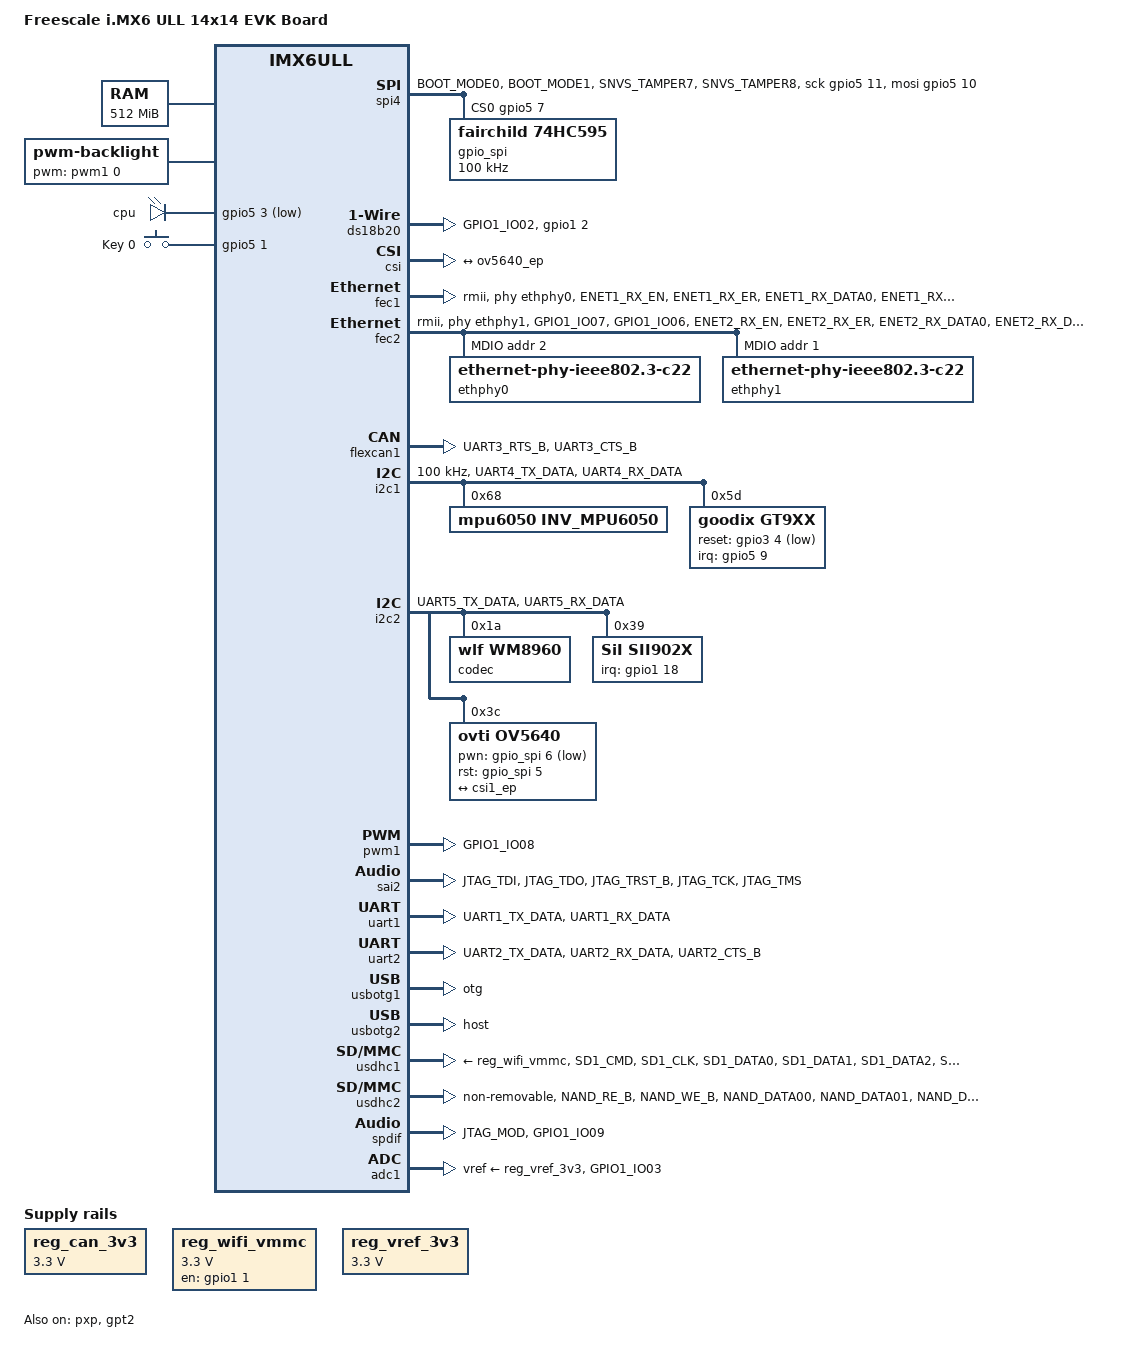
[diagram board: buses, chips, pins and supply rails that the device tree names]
/*
 * Copyright (C) 2016 Freescale Semiconductor, Inc.
 *
 * This program is free software; you can redistribute it and/or modify
 * it under the terms of the GNU General Public License version 2 as
 * published by the Free Software Foundation.
 */

/dts-v1/;

#include <dt-bindings/input/input.h>
#include "imx6ull.dtsi"

/ {
	model = "Freescale i.MX6 ULL 14x14 EVK Board";
	compatible = "fsl,imx6ull-14x14-evk", "fsl,imx6ull";

	chosen {
		stdout-path = &uart1;
	};

	memory {
		reg = <0x80000000 0x20000000>;
	};

	reserved-memory {
		#address-cells = <1>;
		#size-cells = <1>;
		ranges;

		linux,cma {
			compatible = "shared-dma-pool";
			reusable;
			size = <0x14000000>;
			linux,cma-default;
		};
	};

	backlight {
		compatible = "pwm-backlight";
		pwms = <&pwm1 0 5000000>;
		brightness-levels = <0 4 8 16 32 64 128 255>;
		default-brightness-level = <6>;
		status = "okay";
	};

	pxp_v4l2 {
		compatible = "fsl,imx6ul-pxp-v4l2", "fsl,imx6sx-pxp-v4l2", "fsl,imx6sl-pxp-v4l2";
		status = "okay";
	};

	regulators {
		compatible = "simple-bus";
		#address-cells = <1>;
		#size-cells = <0>;

		reg_can_3v3: regulator@0 {
			compatible = "regulator-fixed";
			reg = <0>;
			regulator-name = "can-3v3";
			regulator-min-microvolt = <3300000>;
			regulator-max-microvolt = <3300000>;
			/*gpios = <&gpio_spi 3 GPIO_ACTIVE_LOW>;*/
		};

		reg_wifi_vmmc: regulator@1 {
			compatible = "regulator-fixed";
			regulator-name = "WIFI_3V3";
			regulator-min-microvolt = <3300000>;
			regulator-max-microvolt = <3300000>;
			gpio = <&gpio1 1 GPIO_ACTIVE_HIGH>;
			enable-active-high;
		};
		reg_vref_3v3: regulator@2 {
			compatible = "regulator-fixed";
			regulator-name = "vref-3v3";
			regulator-min-microvolt = <3300000>;
			regulator-max-microvolt = <3300000>;
		};
/*
		reg_gpio_dvfs: regulator-gpio {
			compatible = "regulator-gpio";
			pinctrl-names = "default";
			pinctrl-0 = <&pinctrl_dvfs>;
			regulator-min-microvolt = <1300000>;
			regulator-max-microvolt = <1400000>;
			regulator-name = "gpio_dvfs";
			regulator-type = "voltage";
			gpios = <&gpio5 3 GPIO_ACTIVE_HIGH>;
			states = <1300000 0x1 1400000 0x0>;
		};

		reg_bt: regulator-bt-reg {
			compatible = "regulator-gpio";
			pinctrl-names = "default";
			pinctrl-0 = <&pinctrl_dvfs>;
			regulator-min-microvolt = <1300000>;
			regulator-max-microvolt = <1400000>;
			regulator-name = "gpio_dvfs";
			regulator-type = "voltage";
			gpios = <&gpio5 3 GPIO_ACTIVE_HIGH>;
			states = <1300000 0x1 1400000 0x0>;
		};*/
	};

	leds {
		compatible = "gpio-leds";
		pinctrl-names = "default";
		pinctrl-0 = <&pinctrl_led>;

		led0: cpu {
			label = "cpu";
			gpios = <&gpio5 3 GPIO_ACTIVE_LOW>;
			default-state = "on";
			linux,default-trigger = "heartbeat";
		};
	};

	pwm_leds{
		compatible = "pwm-leds";
		status = "disable";
		red {
			label = "red";
			pwms = <&pwm3 0 500000>;
			max-brightness = <255>;
		};

		blue {
			label = "blue";
			pwms = <&pwm7 0 500000>;
			max-brightness = <255>;
		};

		green {
			label = "green";
			pwms = <&pwm8 0 500000>;
			max-brightness = <255>;
		};

	};

	gpio-keys {
			compatible = "gpio-keys";
			pinctrl-names = "default";
			pinctrl-0 = <&pinctrl_gpio_keys>;

			Key0{
				label = "Key 0";
				gpios = <&gpio5 1 GPIO_ACTIVE_HIGH>;
				linux,code = <KEY_0>;
		};
	};

	ir-receiver {
			compatible = "gpio-ir-receiver";
			/*gpios = <&gpio1 1 GPIO_ACTIVE_LOW>;*/
			pinctrl-names = "default";
			pinctrl-0 = <&pinctrl_remote_control>;
			status = "disable";
	};

	sound {
		compatible = "fsl,imx6ul-evk-wm8960",
			   "fsl,imx-audio-wm8960";
		model = "wm8960-audio";
		cpu-dai = <&sai2>;
		audio-codec = <&codec>;
		asrc-controller = <&asrc>;
		codec-master;
		gpr = <&gpr 4 0x100000 0x100000>;
		/*
		 * hp-det = <hp-det-pin hp-det-polarity>;
		 * hp-det-pin: JD1 JD2  or JD3
		 * hp-det-polarity = 0: hp detect high for headphone
		 * hp-det-polarity = 1: hp detect high for speaker
		 */
		hp-det = <3 1>;
		/*hp-det-gpios = <&gpio5 4 0>;
		mic-det-gpios = <&gpio5 4 0>;*/
		audio-routing =
			"Headphone Jack", "HP_L",
			"Headphone Jack", "HP_R",
			"Ext Spk", "SPK_LP",
			"Ext Spk", "SPK_LN",
			"Ext Spk", "SPK_RP",
			"Ext Spk", "SPK_RN",
			"LINPUT2", "Mic Jack",
			"LINPUT3", "Mic Jack",
			"RINPUT1", "Main MIC",
			"RINPUT2", "Main MIC",
			"Mic Jack", "MICB",
			"Main MIC", "MICB",
			"CPU-Playback", "ASRC-Playback",
			"Playback", "CPU-Playback",
			"ASRC-Capture", "CPU-Capture",
			"CPU-Capture", "Capture";
			status = "okay";
	};

	spi4 {
		compatible = "spi-gpio";
		pinctrl-names = "default";
		pinctrl-0 = <&pinctrl_spi4>;
		pinctrl-assert-gpios = <&gpio5 8 GPIO_ACTIVE_LOW>;
		status = "okay";
		gpio-sck = <&gpio5 11 0>;
		gpio-mosi = <&gpio5 10 0>;
		cs-gpios = <&gpio5 7 0>;
		num-chipselects = <1>;
		#address-cells = <1>;
		#size-cells = <0>;

		gpio_spi: gpio_spi@0 {
			compatible = "fairchild,74hc595";
			gpio-controller;
			#gpio-cells = <2>;
			reg = <0>;
			registers-number = <1>;
			registers-default = /bits/ 8 <0x57>;
			spi-max-frequency = <100000>;
		};
	};

	sound-spdif {
		compatible = "fsl,imx-audio-spdif";
		model = "imx-spdif";
		spdif-controller = <&spdif>;
		spdif-in;
		spdif-out;
	};

	sii902x_reset: sii902x-reset {
		compatible = "gpio-reset";
		reset-gpios = <&gpio_spi 0 GPIO_ACTIVE_LOW>;
		reset-delay-us = <100000>;
		#reset-cells = <0>;
		status = "disabled";
	};

	ds18b20{
		compatible = "w1-gpio";
		gpios = <&gpio1 2 GPIO_ACTIVE_HIGH>;
		linux,open-drain;
		pinctrl-names = "default";
		pinctrl-0 = <&pinctrl_onewire>;
		status = "okay";
	};

};

&cpu0 {
	arm-supply = <&reg_arm>;
	soc-supply = <&reg_soc>;
	clock-frequency = <800000000>;
	/*dc-supply = <&reg_gpio_dvfs>;*/
};

&clks {
	assigned-clocks = <&clks IMX6UL_CLK_PLL4_AUDIO_DIV>;
	assigned-clock-rates = <786432000>;
};

&csi {
	status = "okay";

	port {
		csi1_ep: endpoint {
			remote-endpoint = <&ov5640_ep>;
		};
	};
};

&fec1 {
	pinctrl-names = "default";
	pinctrl-0 = <&pinctrl_enet1>;
	phy-mode = "rmii";
	phy-handle = <&ethphy0>;
	status = "okay";
};

&fec2 {
	pinctrl-names = "default";
	pinctrl-0 = <&pinctrl_enet2>;
	phy-mode = "rmii";
	phy-handle = <&ethphy1>;
	status = "okay";

	mdio {
		#address-cells = <1>;
		#size-cells = <0>;

		ethphy0: ethernet-phy@2 {
			compatible = "ethernet-phy-ieee802.3-c22";
			reg = <2>;
		};

		ethphy1: ethernet-phy@1 {
			compatible = "ethernet-phy-ieee802.3-c22";
			reg = <1>;
		};
	};
};

&flexcan1 {
	pinctrl-names = "default";
	pinctrl-0 = <&pinctrl_flexcan1>;
	/*xceiver-supply = <&reg_can_3v3>;*/
	status = "okay";
};
/*
&flexcan2 {
	pinctrl-names = "default";
	pinctrl-0 = <&pinctrl_flexcan2>;
	/*xceiver-supply = <&reg_can_3v3>;
	status = "okay";    /*can & UART2 can not use as same time
};*/

&gpc {
	fsl,cpu_pupscr_sw2iso = <0x1>;
	fsl,cpu_pupscr_sw = <0x0>;
	fsl,cpu_pdnscr_iso2sw = <0x1>;
	fsl,cpu_pdnscr_iso = <0x1>;
	fsl,ldo-bypass = <0>; /* DCDC, ldo-enable */
};

&i2c1 {
	clock-frequency = <100000>;
	pinctrl-names = "default";
	pinctrl-0 = <&pinctrl_i2c1>;
	status = "okay";

	mpu6050@68 {
		compatible = "mpu6050,INV_MPU6050";
		reg = <0x68>;
		position = <1>;
	};

	gt9xx@5d {
		compatible = "goodix,gt9xx";
		reg = <0x5d>;
		status = "okay";
		interrupt-parent = <&gpio5>;
		interrupts = <9 IRQ_TYPE_EDGE_FALLING>;
		pinctrl-names = "default";
		pinctrl-0 = <&pinctrl_tsc_reset>;
		/*pinctrl-1 = <&pinctrl_tsc_irq>;*/
		/*pinctrl-names = "default", "int-output-low", "int-output-high", "int-input";
		pinctrl-0 = <&ts_int_default>;
		pinctrl-1 = <&ts_int_output_low>;
		pinctrl-2 = <&ts_int_output_high>;
		pinctrl-3 = <&ts_int_input>;
		*/
		reset-gpios = <&gpio3 4 GPIO_ACTIVE_LOW>;
		irq-gpios = <&gpio5 9 IRQ_TYPE_EDGE_FALLING>;
		irq-flags = <2>;		/*1:rising 2: falling*/

		touchscreen-max-id = <1>;
		touchscreen-size-x = <800>;
		touchscreen-size-y = <480>;
		touchscreen-max-w = <1024>;
		touchscreen-max-p = <1024>;
		/*touchscreen-key-map = <172>, <158>;*/ /*KEY_HOMEPAGE, KEY_BACK*/

		goodix,type-a-report = <0>;
		goodix,driver-send-cfg = <1>;
		goodix,create-wr-node = <1>;
		goodix,wakeup-with-reset = <0>;
		goodix,resume-in-workqueue = <0>;
		goodix,int-sync = <0>;
		goodix,swap-x2y = <0>;
		goodix,esd-protect = <0>;
		goodix,pen-suppress-finger = <0>;
		goodix,auto-update = <0>;
		goodix,auto-update-cfg = <0>;
		goodix,power-off-sleep = <0>;

		/*7*/
		goodix,cfg-group0 = [
		00 20 03 E0 01 05 0D 00 01 08
		28 0F 50 32 03 05 00 00 00 00
		00 00 00 00 00 00 00 8A 2A 0C
		45 47 0C 08 00 00 00 02 02 2D
		00 00 00 00 00 03 64 32 00 00
		00 28 64 94 C5 02 07 00 00 04
		9C 2C 00 8F 34 00 84 3F 00 7C
		4C 00 77 5B 00 77 00 00 00 00
		00 00 00 00 00 00 00 00 00 00
		00 00 00 00 00 00 00 00 00 00
		00 00 00 00 00 00 00 00 00 00
		00 00 18 16 14 12 10 0E 0C 0A
		08 06 04 02 FF FF 00 00 00 00
		00 00 00 00 00 00 00 00 00 00
		00 00 16 18 1C 1D 1E 1F 20 21
		22 24 13 12 10 0F 0A 08 06 04
		02 00 FF FF FF FF FF FF 00 00
		00 00 00 00 00 00 00 00 00 00
		00 00 00 00 24 01
		];

		/*4.3*/
		goodix,cfg-group1 = [
		97 E0 01 10 01 05 0D 00 01 00
		00 05 5A 46 53 11 00 00 11 11
		14 14 14 22 0A 04 00 00 00 00
		00 00 53 00 14 00 00 84 00 00
		3C 00 00 64 1E 28 87 27 08 32
		34 05 0D 20 33 60 11 02 24 00
		00 64 80 80 14 02 00 00 54 89
		68 85 6D 82 72 80 76 7D 7B 7B
		00 00 00 00 00 00 00 F0 50 3C
		FF FF 07 00 00 00 02 14 14 03
		04 00 21 64 0A 00 00 00 00 00
		00 00 00 00 00 00 00 00 00 00
		00 00 00 00 00 00 00 00 00 00
		32 20 50 3C 3C 00 00 00 00 00
		0D 06 0C 05 0B 04 0A 03 FF FF
		FF FF FF FF 00 01 02 03 04 05
		06 07 08 09 0A 0B 0C 0D FF FF
		FF FF FF FF FF FF FF FF FF FF
		00 00 00 00 00 00 00 00 00 00
		00 00 00 00 3C 00 05 1E 00 02
		2A 1E 19 14 02 00 03 0A 05 00
		00 00 00 00 00 00 01 FF FF 86
		22 03 00 00 33 00 0F 00 00 00
		50 3C 50 00 00 00 00 2A 01
		];

		/*5*/
		goodix,cfg-group2 = [
		00 20 03 E0 01 05 3C 00 01 08
		28 0C 50 32 03 05 00 00 00 00
		00 00 00 17 19 1E 14 8B 2B 0D
		33 35 0C 08 00 00 00 9A 03 11
		00 01 00 00 00 00 00 32 00 00
		00 20 58 94 C5 02 00 00 00 04
		B0 23 00 93 2B 00 7B 35 00 69
		41 00 5B 4F 00 5B 00 00 00 00
		00 00 00 00 00 00 00 00 00 00
		00 00 00 00 00 00 00 00 00 00
		00 00 00 00 00 00 00 00 00 00
		00 00 02 04 06 08 0A 0C 0E 10
		12 14 16 18 1A FF 00 00 00 00
		00 00 00 00 00 00 00 00 00 00
		00 00 00 02 04 06 08 0A 0C 0F
		10 12 13 16 18 1C 1D 1E 1F 20
		21 22 24 26 FF FF FF FF 00 00
		00 FF FF FF FF FF FF FF FF FF
		FF FF FF FF 48 01
		];

	};
	/*
	mag3110@0e {
		compatible = "fsl,mag3110";
		reg = <0x0e>;
		position = <2>;
	};

	fxls8471@1e {
		compatible = "fsl,fxls8471";
		reg = <0x1e>;
		position = <0>;
		interrupt-parent = <&gpio5>;
		interrupts = <0 8>;
	};*/
};

&i2c2 {
	clock_frequency = <100000>;
	pinctrl-names = "default";
	pinctrl-0 = <&pinctrl_i2c2>;
	status = "okay";

	codec: wm8960@1a {
		compatible = "wlf,wm8960";
		reg = <0x1a>;
		clocks = <&clks IMX6UL_CLK_SAI2>;
		clock-names = "mclk";
		wlf,shared-lrclk;
	};

	sii902x: sii902x@39 {
		compatible = "SiI,sii902x";
		pinctrl-names = "default";
		pinctrl-0 = <&pinctrl_sii902x>;
		resets = <&sii902x_reset>;
		interrupt-parent = <&gpio1>;
		interrupts = <18 IRQ_TYPE_EDGE_FALLING>;
		mode_str ="1280x720M@60";
		bits-per-pixel = <16>;
		reg = <0x39>;

		status = "okay";
	};

	ov5640: ov5640@3c {
		compatible = "ovti,ov5640";
		reg = <0x3c>;
		pinctrl-names = "default";
		pinctrl-0 = <&pinctrl_csi1>;
		clocks = <&clks IMX6UL_CLK_CSI>;
		clock-names = "csi_mclk";
		pwn-gpios = <&gpio_spi 6 1>;
		rst-gpios = <&gpio_spi 5 0>;
		csi_id = <0>;
		mclk = <24000000>;
		mclk_source = <0>;
		status = "okay";
		port {
			ov5640_ep: endpoint {
				remote-endpoint = <&csi1_ep>;
			};
		};
	};
};

&iomuxc {
	pinctrl-names = "default";
	imx6ul-evk {
		pinctrl_remote_control: remote_control {
			fsl,pins = <
				MX6UL_PAD_UART2_TX_DATA__UART2_DCE_TX	0x000010B1 /* remote control        add by pengjie 20190703*/
			>;
		};

		pinctrl_csi1: csi1grp {
			fsl,pins = <
				MX6UL_PAD_CSI_MCLK__CSI_MCLK		0x1b088
				MX6UL_PAD_CSI_PIXCLK__CSI_PIXCLK	0x1b088
				MX6UL_PAD_CSI_VSYNC__CSI_VSYNC		0x1b088
				MX6UL_PAD_CSI_HSYNC__CSI_HSYNC		0x1b088
				MX6UL_PAD_CSI_DATA00__CSI_DATA02	0x1b088
				MX6UL_PAD_CSI_DATA01__CSI_DATA03	0x1b088
				MX6UL_PAD_CSI_DATA02__CSI_DATA04	0x1b088
				MX6UL_PAD_CSI_DATA03__CSI_DATA05	0x1b088
				MX6UL_PAD_CSI_DATA04__CSI_DATA06	0x1b088
				MX6UL_PAD_CSI_DATA05__CSI_DATA07	0x1b088
				MX6UL_PAD_CSI_DATA06__CSI_DATA08	0x1b088
				MX6UL_PAD_CSI_DATA07__CSI_DATA09	0x1b088
			>;
		};

		pinctrl_enet1: enet1grp {
			fsl,pins = <
				MX6UL_PAD_ENET1_RX_EN__ENET1_RX_EN	0x1b0b0
				MX6UL_PAD_ENET1_RX_ER__ENET1_RX_ER	0x1b0b0
				MX6UL_PAD_ENET1_RX_DATA0__ENET1_RDATA00	0x1b0b0
				MX6UL_PAD_ENET1_RX_DATA1__ENET1_RDATA01	0x1b0b0
				MX6UL_PAD_ENET1_TX_EN__ENET1_TX_EN	0x1b0b0
				MX6UL_PAD_ENET1_TX_DATA0__ENET1_TDATA00	0x1b0b0
				MX6UL_PAD_ENET1_TX_DATA1__ENET1_TDATA01	0x1b0b0
				MX6UL_PAD_ENET1_TX_CLK__ENET1_REF_CLK1	0x4001b031
			>;
		};

		pinctrl_enet2: enet2grp {
			fsl,pins = <
				MX6UL_PAD_GPIO1_IO07__ENET2_MDC		0x1b0b0
				MX6UL_PAD_GPIO1_IO06__ENET2_MDIO	0x1b0b0
				MX6UL_PAD_ENET2_RX_EN__ENET2_RX_EN	0x1b0b0
				MX6UL_PAD_ENET2_RX_ER__ENET2_RX_ER	0x1b0b0
				MX6UL_PAD_ENET2_RX_DATA0__ENET2_RDATA00	0x1b0b0
				MX6UL_PAD_ENET2_RX_DATA1__ENET2_RDATA01	0x1b0b0
				MX6UL_PAD_ENET2_TX_EN__ENET2_TX_EN	0x1b0b0
				MX6UL_PAD_ENET2_TX_DATA0__ENET2_TDATA00	0x1b0b0
				MX6UL_PAD_ENET2_TX_DATA1__ENET2_TDATA01	0x1b0b0
				MX6UL_PAD_ENET2_TX_CLK__ENET2_REF_CLK2	0x4001b031
			>;
		};

		pinctrl_flexcan1: flexcan1grp{
			fsl,pins = <
				MX6UL_PAD_UART3_RTS_B__FLEXCAN1_RX	0x1b020
				MX6UL_PAD_UART3_CTS_B__FLEXCAN1_TX	0x1b020
			>;
		};

		pinctrl_flexcan2: flexcan2grp{
			fsl,pins = <
				MX6UL_PAD_UART2_RTS_B__FLEXCAN2_RX	0x1b020
				MX6UL_PAD_UART2_CTS_B__FLEXCAN2_TX	0x1b020
			>;
		};

		pinctrl_i2c1: i2c1grp {
			fsl,pins = <
				MX6UL_PAD_UART4_TX_DATA__I2C1_SCL 0x4001b8b0
				MX6UL_PAD_UART4_RX_DATA__I2C1_SDA 0x4001b8b0
			>;
		};

		pinctrl_i2c2: i2c2grp {
			fsl,pins = <
				MX6UL_PAD_UART5_TX_DATA__I2C2_SCL 0x4001b8b0
				MX6UL_PAD_UART5_RX_DATA__I2C2_SDA 0x4001b8b0
			>;
		};

		pinctrl_lcdif_dat: lcdifdatgrp {
			fsl,pins = <
				MX6UL_PAD_LCD_DATA00__LCDIF_DATA00  0x79
				MX6UL_PAD_LCD_DATA01__LCDIF_DATA01  0x79
				MX6UL_PAD_LCD_DATA02__LCDIF_DATA02  0x79
				MX6UL_PAD_LCD_DATA03__LCDIF_DATA03  0x79
				MX6UL_PAD_LCD_DATA04__LCDIF_DATA04  0x79
				MX6UL_PAD_LCD_DATA05__LCDIF_DATA05  0x79
				MX6UL_PAD_LCD_DATA06__LCDIF_DATA06  0x79
				MX6UL_PAD_LCD_DATA07__LCDIF_DATA07  0x79
				MX6UL_PAD_LCD_DATA08__LCDIF_DATA08  0x79
				MX6UL_PAD_LCD_DATA09__LCDIF_DATA09  0x79
				MX6UL_PAD_LCD_DATA10__LCDIF_DATA10  0x79
				MX6UL_PAD_LCD_DATA11__LCDIF_DATA11  0x79
				MX6UL_PAD_LCD_DATA12__LCDIF_DATA12  0x79
				MX6UL_PAD_LCD_DATA13__LCDIF_DATA13  0x79
				MX6UL_PAD_LCD_DATA14__LCDIF_DATA14  0x79
				MX6UL_PAD_LCD_DATA15__LCDIF_DATA15  0x79
				MX6UL_PAD_LCD_DATA16__LCDIF_DATA16  0x79
				MX6UL_PAD_LCD_DATA17__LCDIF_DATA17  0x79
				MX6UL_PAD_LCD_DATA18__LCDIF_DATA18  0x79
				MX6UL_PAD_LCD_DATA19__LCDIF_DATA19  0x79
				MX6UL_PAD_LCD_DATA20__LCDIF_DATA20  0x79
				MX6UL_PAD_LCD_DATA21__LCDIF_DATA21  0x79
				MX6UL_PAD_LCD_DATA22__LCDIF_DATA22  0x79
				MX6UL_PAD_LCD_DATA23__LCDIF_DATA23  0x79
			>;
		};

		pinctrl_lcdif_ctrl: lcdifctrlgrp {
			fsl,pins = <
				MX6UL_PAD_LCD_CLK__LCDIF_CLK	    0x79
				MX6UL_PAD_LCD_ENABLE__LCDIF_ENABLE  0x79
				MX6UL_PAD_LCD_HSYNC__LCDIF_HSYNC    0x79
				MX6UL_PAD_LCD_VSYNC__LCDIF_VSYNC    0x79
			>;
		};

		pinctrl_pwm1: pwm1grp {
			fsl,pins = <
				MX6UL_PAD_GPIO1_IO08__PWM1_OUT   0x000010B1
			>;
		};

		pinctrl_pwm3: pwm3grp {
			fsl,pins = <
				MX6UL_PAD_GPIO1_IO04__PWM3_OUT   0x000010B1
			>;
		};

		pinctrl_pwm7: pwm7grp {
			fsl,pins = <
				MX6UL_PAD_CSI_VSYNC__PWM7_OUT   0x000010B1
			>;
		};

		pinctrl_pwm8: pwm8grp {
			fsl,pins = <
				MX6UL_PAD_CSI_HSYNC__PWM8_OUT   0x000010B1
			>;
		};

		pinctrl_qspi: qspigrp {
			fsl,pins = <
				MX6UL_PAD_NAND_WP_B__QSPI_A_SCLK      0x70a1
				MX6UL_PAD_NAND_READY_B__QSPI_A_DATA00 0x70a1
				MX6UL_PAD_NAND_CE0_B__QSPI_A_DATA01   0x70a1
				MX6UL_PAD_NAND_CE1_B__QSPI_A_DATA02   0x70a1
				MX6UL_PAD_NAND_CLE__QSPI_A_DATA03     0x70a1
				MX6UL_PAD_NAND_DQS__QSPI_A_SS0_B      0x70a1
			>;
		};

		pinctrl_sai2: sai2grp {
			fsl,pins = <
				MX6UL_PAD_JTAG_TDI__SAI2_TX_BCLK	0x17088
				MX6UL_PAD_JTAG_TDO__SAI2_TX_SYNC	0x17088
				MX6UL_PAD_JTAG_TRST_B__SAI2_TX_DATA	0x11088
				MX6UL_PAD_JTAG_TCK__SAI2_RX_DATA	0x11088
				MX6UL_PAD_JTAG_TMS__SAI2_MCLK		0x17088
			>;
		};

		pinctrl_spdif: spdifgrp {
				fsl,pins = <
				MX6UL_PAD_JTAG_MOD__SPDIF_OUT		0x1b0b0
				MX6UL_PAD_GPIO1_IO09__SPDIF_IN		0x1b0b0
			>;
		};

		/* delete by pengjie*/
		pinctrl_uart1: uart1grp {
			fsl,pins = <
				MX6UL_PAD_UART1_TX_DATA__UART1_DCE_TX 0x1b0b1
				MX6UL_PAD_UART1_RX_DATA__UART1_DCE_RX 0x1b0b1
			>;
		};

		pinctrl_uart2: uart2grp {
			fsl,pins = <
				MX6UL_PAD_UART2_TX_DATA__UART2_DCE_TX	0x1b0b1
				MX6UL_PAD_UART2_RX_DATA__UART2_DCE_RX	0x1b0b1
			>;
		};

		pinctrl_uart2dte: uart2dtegrp {
			fsl,pins = <
				MX6UL_PAD_UART2_TX_DATA__UART2_DCE_TX	0x1b0b1
				MX6UL_PAD_UART2_RX_DATA__UART2_DCE_RX	0x1b0b1
				/*MX6UL_PAD_UART3_RX_DATA__UART2_DCE_RTS	0x1b0b1
				MX6UL_PAD_UART3_TX_DATA__UART2_DCE_CTS	0x1b0b1    pengjie 20190622*/
				MX6UL_PAD_UART2_CTS_B__UART2_DCE_CTS	0x1b0b1
				MX6UL_PAD_UART2_RTS_B__UART2_DCE_RTS	0x1b0b1
			>;
		};
		pinctrl_485: 485grp {
			fsl,pins = <
				MX6UL_PAD_UART2_TX_DATA__UART2_DCE_TX	0x1b0b1
				MX6UL_PAD_UART2_RX_DATA__UART2_DCE_RX	0x1b0b1
				MX6UL_PAD_UART2_CTS_B__UART2_DCE_CTS	0x1b0b1 /* RS485 RE/DE */
			>;
		};
		pinctrl_usdhc1: usdhc1grp {
			fsl,pins = <
				MX6UL_PAD_SD1_CMD__USDHC1_CMD     0x17059
				MX6UL_PAD_SD1_CLK__USDHC1_CLK     0x10071
				MX6UL_PAD_SD1_DATA0__USDHC1_DATA0 0x17059
				MX6UL_PAD_SD1_DATA1__USDHC1_DATA1 0x17059
				MX6UL_PAD_SD1_DATA2__USDHC1_DATA2 0x17059
				MX6UL_PAD_SD1_DATA3__USDHC1_DATA3 0x17059
			>;
		};

		pinctrl_usdhc1_100mhz: usdhc1grp100mhz {
			fsl,pins = <
				MX6UL_PAD_SD1_CMD__USDHC1_CMD     0x170b9
				MX6UL_PAD_SD1_CLK__USDHC1_CLK     0x100b9
				MX6UL_PAD_SD1_DATA0__USDHC1_DATA0 0x170b9
				MX6UL_PAD_SD1_DATA1__USDHC1_DATA1 0x170b9
				MX6UL_PAD_SD1_DATA2__USDHC1_DATA2 0x170b9
				MX6UL_PAD_SD1_DATA3__USDHC1_DATA3 0x170b9
			>;
		};

		pinctrl_usdhc1_200mhz: usdhc1grp200mhz {
			fsl,pins = <
				MX6UL_PAD_SD1_CMD__USDHC1_CMD     0x170f9
				MX6UL_PAD_SD1_CLK__USDHC1_CLK     0x100f9
				MX6UL_PAD_SD1_DATA0__USDHC1_DATA0 0x170f9
				MX6UL_PAD_SD1_DATA1__USDHC1_DATA1 0x170f9
				MX6UL_PAD_SD1_DATA2__USDHC1_DATA2 0x170f9
				MX6UL_PAD_SD1_DATA3__USDHC1_DATA3 0x170f9
			>;
		};

		pinctrl_usdhc2: usdhc2grp {
			fsl,pins = <
				MX6UL_PAD_NAND_RE_B__USDHC2_CLK     0x10069
				MX6UL_PAD_NAND_WE_B__USDHC2_CMD     0x17059
				MX6UL_PAD_NAND_DATA00__USDHC2_DATA0 0x17059
				MX6UL_PAD_NAND_DATA01__USDHC2_DATA1 0x17059
				MX6UL_PAD_NAND_DATA02__USDHC2_DATA2 0x17059
				MX6UL_PAD_NAND_DATA03__USDHC2_DATA3 0x17059
			>;
		};

		pinctrl_usdhc2_8bit: usdhc2grp_8bit {
			fsl,pins = <
				MX6UL_PAD_NAND_RE_B__USDHC2_CLK     0x10069
				MX6UL_PAD_NAND_WE_B__USDHC2_CMD     0x17059
				MX6UL_PAD_NAND_DATA00__USDHC2_DATA0 0x17059
				MX6UL_PAD_NAND_DATA01__USDHC2_DATA1 0x17059
				MX6UL_PAD_NAND_DATA02__USDHC2_DATA2 0x17059
				MX6UL_PAD_NAND_DATA03__USDHC2_DATA3 0x17059
				MX6UL_PAD_NAND_DATA04__USDHC2_DATA4 0x17059
				MX6UL_PAD_NAND_DATA05__USDHC2_DATA5 0x17059
				MX6UL_PAD_NAND_DATA06__USDHC2_DATA6 0x17059
				MX6UL_PAD_NAND_DATA07__USDHC2_DATA7 0x17059
			>;
		};

		pinctrl_usdhc2_8bit_100mhz: usdhc2grp_8bit_100mhz {
			fsl,pins = <
				MX6UL_PAD_NAND_RE_B__USDHC2_CLK     0x100b9
				MX6UL_PAD_NAND_WE_B__USDHC2_CMD     0x170b9
				MX6UL_PAD_NAND_DATA00__USDHC2_DATA0 0x170b9
				MX6UL_PAD_NAND_DATA01__USDHC2_DATA1 0x170b9
				MX6UL_PAD_NAND_DATA02__USDHC2_DATA2 0x170b9
				MX6UL_PAD_NAND_DATA03__USDHC2_DATA3 0x170b9
				MX6UL_PAD_NAND_DATA04__USDHC2_DATA4 0x170b9
				MX6UL_PAD_NAND_DATA05__USDHC2_DATA5 0x170b9
				MX6UL_PAD_NAND_DATA06__USDHC2_DATA6 0x170b9
				MX6UL_PAD_NAND_DATA07__USDHC2_DATA7 0x170b9
			>;
		};

		pinctrl_usdhc2_8bit_200mhz: usdhc2grp_8bit_200mhz {
			fsl,pins = <
				MX6UL_PAD_NAND_RE_B__USDHC2_CLK     0x100f9
				MX6UL_PAD_NAND_WE_B__USDHC2_CMD     0x170f9
				MX6UL_PAD_NAND_DATA00__USDHC2_DATA0 0x170f9
				MX6UL_PAD_NAND_DATA01__USDHC2_DATA1 0x170f9
				MX6UL_PAD_NAND_DATA02__USDHC2_DATA2 0x170f9
				MX6UL_PAD_NAND_DATA03__USDHC2_DATA3 0x170f9
				MX6UL_PAD_NAND_DATA04__USDHC2_DATA4 0x170f9
				MX6UL_PAD_NAND_DATA05__USDHC2_DATA5 0x170f9
				MX6UL_PAD_NAND_DATA06__USDHC2_DATA6 0x170f9
				MX6UL_PAD_NAND_DATA07__USDHC2_DATA7 0x170f9
			>;
		};
                /*    add by pengjie 0717
		pinctrl_wdog: wdoggrp {
			fsl,pins = <
				MX6UL_PAD_LCD_RESET__WDOG1_WDOG_ANY    0x30b0
			>;
		};
		*/

		pinctrl_tsc_reset: tscresetgrp {
			fsl,pins = <
				/* used for tsc reset */
				MX6UL_PAD_LCD_RESET__GPIO3_IO04		0x05
			>;
		};

		pinctrl_onewire: onewire {
			fsl,pins = <
				//MX6UL_PAD_GPIO1_IO02__GPIO1_IO02          0x000090B1     DHT11
				MX6UL_PAD_GPIO1_IO02__GPIO1_IO02          0x400138B1
			>;
		};

		pinctrl_sii902x: hdmigrp {
			fsl,pins = <
				MX6UL_PAD_UART1_CTS_B__GPIO1_IO18 0x59
			>;
		};

		pinctrl_adc1: adc1grp{
			fsl,pins = <
				MX6UL_PAD_GPIO1_IO03__GPIO1_IO03          0x000010B1
			>;
		};
/*
		pinctrl_beep: beepgrp{
			fsl,pins = <
				MX6UL_PAD_UART1_RTS_B__GPIO1_IO19    0x000050B1
			>;
		};
*/
	};
};

&iomuxc_snvs {
	pinctrl-names = "default_snvs";
        pinctrl-0 = <&pinctrl_tsc_irq>;
        imx6ul-evk {
		/* MPU6050   intterrupt*/
		pinctrl_hog_2: hoggrp-2 {
			fsl,pins = <
				MX6ULL_PAD_SNVS_TAMPER0__GPIO5_IO00      0x80000000
			>;
		};
		/*
		pinctrl_dvfs: dvfsgrp {
			fsl,pins = <
				MX6ULL_PAD_SNVS_TAMPER3__GPIO5_IO03	0x79
			>;
		};
		*/
		pinctrl_gpio_keys: keysgrp{
			fsl,pins = <
				MX6UL_PAD_SNVS_TAMPER1__GPIO5_IO01      0x000110A1
			>;
		};
		pinctrl_spi4: spi4grp {
			fsl,pins = <
				MX6ULL_PAD_BOOT_MODE0__GPIO5_IO10		0x70a1
				MX6ULL_PAD_BOOT_MODE1__GPIO5_IO11		0x70a1
				MX6ULL_PAD_SNVS_TAMPER7__GPIO5_IO07		0x70a1
				MX6ULL_PAD_SNVS_TAMPER8__GPIO5_IO08		0x80000000
			>;
		};
		pinctrl_led: ledgrp {
			fsl,pins = <
				MX6ULL_PAD_SNVS_TAMPER3__GPIO5_IO03 0x1b0b0
			>;
		};
		pinctrl_sai2_hp_det_b: sai2_hp_det_grp {
			fsl,pins = <
				MX6ULL_PAD_SNVS_TAMPER4__GPIO5_IO04        0x000110A1
			>;
		};

		pinctrl_tsc_irq: tsc_irq {
			fsl,pins = <
				MX6ULL_PAD_SNVS_TAMPER9__GPIO5_IO09        0x000110A1
			>;
		};
	};
};

/*
&lcdif {
	pinctrl-names = "default";
	pinctrl-0 = <&pinctrl_lcdif_dat
		     &pinctrl_lcdif_ctrl>;
	display = <&display0>;
	status = "okay";

	display0: display {
		bits-per-pixel = <24>;
		bus-width = <24>;

		display-timings {
			native-mode = <&timing1>;

			timing0: timing0 {
			mode_name = "TFT43AB";
			clock-frequency = <9000000>;
			hactive = <480>;
			vactive = <272>;
			hfront-porch = <8>;
			hback-porch = <2>;
			hsync-len = <41>;
			vback-porch = <4>;
			vfront-porch = <4>;
			vsync-len = <10>;

			hsync-active = <0>;
			vsync-active = <0>;
			de-active = <1>;
			pixelclk-active = <0>;
			};

			timing1: timing1 {
			mode_name = "TFT50AB";
			clock-frequency = <27000000>;
			hactive = <800>;
			vactive = <480>;
			hfront-porch = <23>;
			hback-porch = <46>;
			hsync-len = <1>;
			vback-porch = <22>;
			vfront-porch = <22>;
			vsync-len = <1>;

			hsync-active = <0>;
			vsync-active = <0>;
			de-active = <1>;
			pixelclk-active = <0>;
			};

			timing2: timing2 {
			mode_name = "TFT70AB";
			clock-frequency = <27000002>;
			hactive = <800>;
			vactive = <480>;
			hfront-porch = <23>;
			hback-porch = <46>;
			hsync-len = <1>;
			vback-porch = <22>;
			vfront-porch = <22>;
			vsync-len = <1>;

			hsync-active = <0>;
			vsync-active = <0>;
			de-active = <1>;
			pixelclk-active = <0>;
			};
		};
	};
};*/

&pwm1 {
	pinctrl-names = "default";
	pinctrl-0 = <&pinctrl_pwm1>;
	status = "okay";
};

&pwm3 {
	pinctrl-names = "default";
	pinctrl-0 = <&pinctrl_pwm3>;
	status = "diable";
};

&pwm7 {
	pinctrl-names = "default";
	pinctrl-0 = <&pinctrl_pwm7>;
	status = "diable";
};

&pwm8 {
	pinctrl-names = "default";
	pinctrl-0 = <&pinctrl_pwm8>;
	status = "diable";
};

&pxp {
	status = "okay";
};
/*
&qspi {
	pinctrl-names = "default";
	pinctrl-0 = <&pinctrl_qspi>;
	status = "okay";
	ddrsmp=<0>;

	flash0: n25q256a@0 {
		#address-cells = <1>;
		#size-cells = <1>;
		compatible = "micron,n25q256a";
		spi-max-frequency = <29000000>;
		spi-nor,ddr-quad-read-dummy = <6>;
		reg = <0>;
	};
};
*/

&sai2 {
	pinctrl-names = "default";
	pinctrl-0 = <&pinctrl_sai2>;
		     /*&pinctrl_sai2_hp_det_b>;*/

	assigned-clocks = <&clks IMX6UL_CLK_SAI2_SEL>,
			  <&clks IMX6UL_CLK_SAI2>;
	assigned-clock-parents = <&clks IMX6UL_CLK_PLL4_AUDIO_DIV>;
	assigned-clock-rates = <0>, <12288000>;

	status = "okay";
};

/*
&tsc {
	pinctrl-names = "default";
	pinctrl-0 = <&pinctrl_tsc>;
	xnur-gpio = <&gpio1 3 GPIO_ACTIVE_LOW>;
	measure-delay-time = <0xffff>;
	pre-charge-time = <0xfff>;
	status = "disable";
};
*/

&uart1 {
	pinctrl-names = "default";
	pinctrl-0 = <&pinctrl_uart1>;
	status = "okay";
};
/*
&uart2 {
	pinctrl-names = "default";
	pinctrl-0 = <&pinctrl_uart2>;
	/*fsl,uart-has-rtscts;
	/* for DTE mode, add below change 
	/* fsl,dte-mode; 
	/*pinctrl-0 = <&pinctrl_uart2dte>; 
	status = "disable";
};*/

&uart2{
	pinctrl-names = "default";
	pinctrl-0 = <&pinctrl_485>;
	fsl,rs485-gpio-txen = <&gpio1 18 GPIO_ACTIVE_HIGH>;
	linux,rs485-enabled-at-boot-time;
	status = "okay";
};

&usbotg1 {
	dr_mode = "otg";
	srp-disable;
	hnp-disable;
	adp-disable;
	status = "okay";
};

&usbotg2 {
	dr_mode = "host";
	disable-over-current;
	status = "okay";
};

&usbphy1 {
	tx-d-cal = <0x5>;
};

&usbphy2 {
	tx-d-cal = <0x5>;
};

&usdhc1 {
	pinctrl-names = "default", "state_100mhz", "state_200mhz";
	pinctrl-0 = <&pinctrl_usdhc1>;
	pinctrl-1 = <&pinctrl_usdhc1_100mhz>;
	pinctrl-2 = <&pinctrl_usdhc1_200mhz>;
	/*cd-gpios = <&gpio1 1 GPIO_ACTIVE_LOW>;*/
	keep-power-in-suspend;
	enable-sdio-wakeup;
	vmmc-supply = <&reg_wifi_vmmc>;
	status = "okay";
};

&usdhc2 {
	pinctrl-names = "default";
	pinctrl-0 = <&pinctrl_usdhc2>;
	non-removable;
	status = "okay";
};

/*
&wdog1 {
	pinctrl-names = "default";
	pinctrl-0 = <&pinctrl_wdog>;
	fsl,wdog_b;
};
*/
&spdif {
	pinctrl-names = "default";
	pinctrl-0 = <&pinctrl_spdif>;
	assigned-clocks = <&clks IMX6UL_CLK_SPDIF_SEL>,
			  <&clks IMX6UL_CLK_SPDIF_PODF>;
	assigned-clock-parents = <&clks IMX6UL_CLK_PLL4_AUDIO_DIV>;
	assigned-clock-rates = <0>, <49152000>;
	status = "okay";
};

&adc1 {
	pinctrl-names = "default";
	pinctrl-0 = <&pinctrl_adc1>;
	vref-supply = <&reg_vref_3v3>;
	num-channels = <4>; 			//此参数为ADC的个数
	status = "okay";
};

&gpt2 {
    status = "okay";
};
